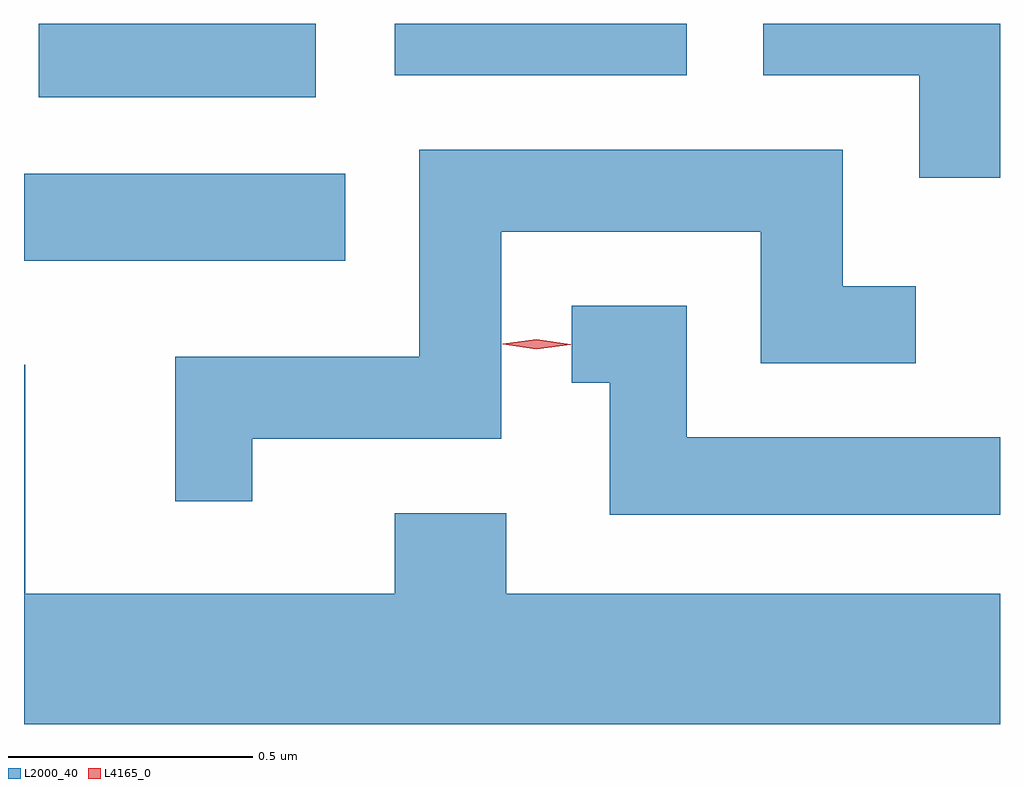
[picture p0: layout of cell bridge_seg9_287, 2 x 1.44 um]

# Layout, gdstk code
import gdstk
lib = gdstk.Library(unit=1e-6, precision=1e-09)
def R(c, l, rs):  # rectangles x0, y0, x1, y1
    for r in rs: c.add(gdstk.rectangle(r[:2], r[2:], *l))
def P(c, l, *ps):  # polygons
    for p in ps: c.add(gdstk.Polygon(p, *l))
L2000_40 = (2000, 40)
L4165_0 = (4165, 0)

bridge_seg9_287 = lib.new_cell('bridge_seg9_287')
R(bridge_seg9_287, L2000_40, [(1023.311,2048.266,1023.969,2048.444), (1023.341,2048.601,1023.909,2048.752), (1024.071,2048.646,1024.669,2048.752)])
P(bridge_seg9_287, L2000_40, [(1025.311,2048.752),(1024.826,2048.752),(1024.826,2048.646),(1025.146,2048.646),(1025.146,2048.436),(1025.311,2048.436)],
  [(1023.779,2047.901),(1024.289,2047.901),(1024.289,2048.326),(1024.821,2048.326),(1024.821,2048.056),(1025.138,2048.056),(1025.138,2048.214),(1024.989,2048.214),(1024.989,2048.494),(1024.121,2048.494),(1024.121,2048.069),(1023.621,2048.069),(1023.621,2047.773),(1023.779,2047.773)],
  [(1025.311,2047.904),(1024.669,2047.904),(1024.669,2048.174),(1024.433,2048.174),(1024.433,2048.016),(1024.511,2048.016),(1024.511,2047.746),(1025.311,2047.746)],
  [(1025.311,2047.584),(1024.299,2047.584),(1024.299,2047.749),(1024.071,2047.749),(1024.071,2047.584),(1023.314,2047.584),(1023.314,2048.053),(1023.311,2048.053),(1023.311,2047.316),(1025.311,2047.316)])
P(bridge_seg9_287, L4165_0, [(1024.361,2048.085),(1024.292,2048.095),(1024.292,2048.095),(1024.292,2048.096),(1024.361,2048.105),(1024.431,2048.095),(1024.431,2048.095),(1024.431,2048.094)])

lib.write_gds('bridge_seg9_287.gds')
